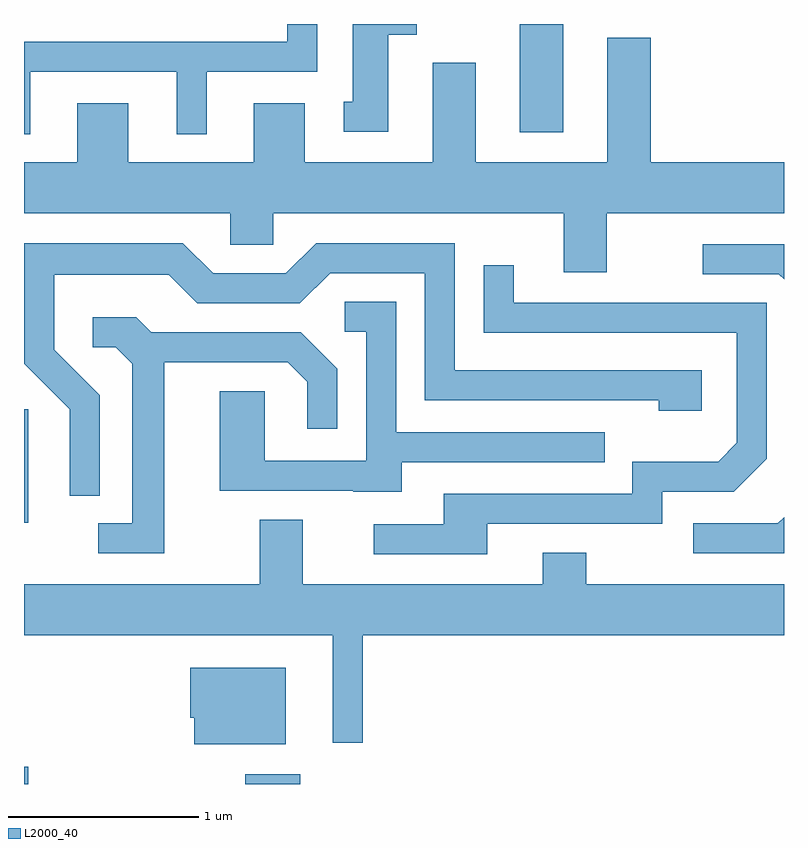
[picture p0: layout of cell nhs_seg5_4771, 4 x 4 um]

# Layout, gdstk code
import gdstk
lib = gdstk.Library(unit=1e-6, precision=1e-09)
def R(c, l, rs):  # rectangles x0, y0, x1, y1
    for r in rs: c.add(gdstk.rectangle(r[:2], r[2:], *l))
def P(c, l, *ps):  # polygons
    for p in ps: c.add(gdstk.Polygon(p, *l))
L2000_40 = (2000, 40)

nhs_seg5_4771 = lib.new_cell('nhs_seg5_4771')
R(nhs_seg5_4771, L2000_40, [(327.611,1396.072,327.634,1396.164), (328.776,1396.072,329.064,1396.124), (327.611,1397.446,327.634,1398.044), (330.221,1399.501,330.449,1400.072)])
P(nhs_seg5_4771, L2000_40, [(329.529,1400.016),(329.679,1400.016),(329.679,1400.072),(329.341,1400.072),(329.341,1399.664),(329.293,1399.664),(329.293,1399.506),(329.529,1399.506)],
  [(327.644,1399.821),(328.416,1399.821),(328.416,1399.493),(328.574,1399.493),(328.574,1399.821),(329.154,1399.821),(329.154,1400.072),(328.996,1400.072),(328.996,1399.979),(327.611,1399.979),(327.611,1399.493),(327.644,1399.493)],
  [(330.679,1399.076),(331.611,1399.076),(331.611,1399.344),(330.909,1399.344),(330.909,1399.999),(330.681,1399.999),(330.681,1399.344),(329.989,1399.344),(329.989,1399.869),(329.761,1399.869),(329.761,1399.344),(329.089,1399.344),(329.089,1399.654),(328.821,1399.654),(328.821,1399.344),(328.159,1399.344),(328.159,1399.654),(327.891,1399.654),(327.891,1399.344),(327.611,1399.344),(327.611,1399.076),(328.696,1399.076),(328.696,1398.911),(328.924,1398.911),(328.924,1399.076),(330.451,1399.076),(330.451,1398.766),(330.679,1398.766)],
  [(328.009,1398.117),(327.769,1398.357),(327.769,1398.751),(328.374,1398.751),(328.524,1398.601),(329.062,1398.601),(329.222,1398.761),(329.721,1398.761),(329.721,1398.091),(330.951,1398.091),(330.951,1398.036),(331.179,1398.036),(331.179,1398.249),(329.879,1398.249),(329.879,1398.919),(329.149,1398.919),(328.989,1398.759),(328.607,1398.759),(328.447,1398.919),(327.611,1398.919),(327.611,1398.284),(327.851,1398.044),(327.851,1397.588),(328.009,1397.588)],
  [(331.611,1398.914),(331.183,1398.914),(331.183,1398.756),(331.584,1398.756),(331.611,1398.729)],
  [(330.049,1397.441),(330.969,1397.441),(330.969,1397.611),(331.347,1397.611),(331.519,1397.784),(331.519,1398.604),(330.189,1398.604),(330.189,1398.803),(330.031,1398.803),(330.031,1398.446),(331.361,1398.446),(331.361,1397.867),(331.264,1397.769),(330.811,1397.769),(330.811,1397.599),(329.821,1397.599),(329.821,1397.439),(329.453,1397.439),(329.453,1397.281),(330.049,1397.281)],
  [(329.599,1397.766),(330.668,1397.766),(330.668,1397.924),(329.569,1397.924),(329.569,1398.609),(329.298,1398.609),(329.298,1398.451),(329.411,1398.451),(329.411,1397.774),(328.879,1397.774),(328.879,1398.139),(328.641,1398.139),(328.641,1397.616),(329.345,1397.616),(329.345,1397.611),(329.599,1397.611)],
  [(328.349,1398.291),(328.999,1398.291),(329.101,1398.189),(329.101,1397.943),(329.259,1397.943),(329.259,1398.257),(329.067,1398.449),(328.282,1398.449),(328.202,1398.529),(327.973,1398.529),(327.973,1398.371),(328.094,1398.371),(328.181,1398.284),(328.181,1397.444),(328.003,1397.444),(328.003,1397.286),(328.349,1397.286)],
  [(331.611,1397.476),(331.579,1397.444),(331.133,1397.444),(331.133,1397.286),(331.611,1397.286)],
  [(329.394,1396.856),(331.611,1396.856),(331.611,1397.124),(330.569,1397.124),(330.569,1397.289),(330.341,1397.289),(330.341,1397.124),(329.079,1397.124),(329.079,1397.464),(328.851,1397.464),(328.851,1397.124),(327.611,1397.124),(327.611,1396.856),(329.236,1396.856),(329.236,1396.288),(329.394,1396.288)],
  [(328.989,1396.684),(328.486,1396.684),(328.486,1396.421),(328.506,1396.421),(328.506,1396.281),(328.989,1396.281)])

lib.write_gds('nhs_seg5_4771.gds')
